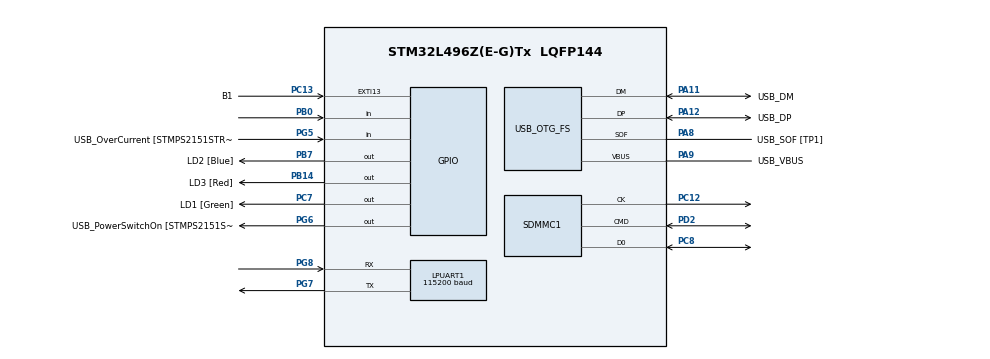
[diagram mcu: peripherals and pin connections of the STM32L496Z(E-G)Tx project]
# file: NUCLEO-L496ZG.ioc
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Dma.LPUART_RX.1.Direction=DMA_PERIPH_TO_MEMORY
Dma.LPUART_RX.1.Instance=DMA2_Channel7
Dma.LPUART_RX.1.MemDataAlignment=DMA_MDATAALIGN_BYTE
Dma.LPUART_RX.1.MemInc=DMA_MINC_ENABLE
Dma.LPUART_RX.1.Mode=DMA_NORMAL
Dma.LPUART_RX.1.PeriphDataAlignment=DMA_PDATAALIGN_BYTE
Dma.LPUART_RX.1.PeriphInc=DMA_PINC_DISABLE
Dma.LPUART_RX.1.Priority=DMA_PRIORITY_LOW
Dma.MEMTOMEM.0.Direction=DMA_MEMORY_TO_MEMORY
Dma.MEMTOMEM.0.Instance=DMA1_Channel1
Dma.MEMTOMEM.0.MemDataAlignment=DMA_MDATAALIGN_BYTE
Dma.MEMTOMEM.0.MemInc=DMA_MINC_ENABLE
Dma.MEMTOMEM.0.Mode=DMA_NORMAL
Dma.MEMTOMEM.0.PeriphDataAlignment=DMA_PDATAALIGN_BYTE
Dma.MEMTOMEM.0.PeriphInc=DMA_PINC_ENABLE
Dma.MEMTOMEM.0.Priority=DMA_PRIORITY_LOW
Dma.Request0=MEMTOMEM
Dma.Request1=LPUART_RX
FATFS._MAX_SS=512
LPUART1.BaudRate=115200
LPUART1.WordLength=UART_WORDLENGTH_8B
Mcu.Family=STM32L4
Mcu.Name=STM32L496Z(E-G)Tx
Mcu.Package=LQFP144
NVIC.DMA2_Channel7_IRQn=true\:0\:0\:false\:false\:true\:false\:true\:true
NVIC.EXTI15_10_IRQn=true\:0\:0\:false\:false\:true\:true\:true\:true
NVIC.LPUART1_IRQn=true\:0\:0\:false\:false\:true\:true\:true\:true
NVIC.OTG_FS_IRQn=true\:0\:0\:false\:false\:true\:true\:true\:true
NVIC.PriorityGroup=NVIC_PRIORITYGROUP_4
NVIC.RCC_IRQn=true\:0\:0\:false\:false\:true\:true\:false\:true
NVIC.SDMMC1_IRQn=true\:0\:0\:false\:false\:true\:true\:true\:true
PA0.Mode=SYS_WakeUp0
PA0.Signal=SYS_WKUP1
PA10.GPIO_Label=USB_ID
PA10.Signal=USB_OTG_FS_ID
PA11.GPIO_Label=USB_DM
PA11.Mode=Device_Only
PA11.Signal=USB_OTG_FS_DM
PA12.GPIO_Label=USB_DP
PA12.Mode=Device_Only
PA12.Signal=USB_OTG_FS_DP
PA13\ (JTMS/SWDIO).GPIO_Label=TMS
PA13\ (JTMS/SWDIO).Mode=Trace_Asynchronous_SW
PA13\ (JTMS/SWDIO).Signal=SYS_JTMS-SWDIO
PA14\ (JTCK/SWCLK).GPIO_Label=TCK
PA14\ (JTCK/SWCLK).Mode=Trace_Asynchronous_SW
PA14\ (JTCK/SWCLK).Signal=SYS_JTCK-SWCLK
PA8.GPIO_Label=USB_SOF [TP1]
PA8.Mode=Activate_SOF_FS
PA8.Signal=USB_OTG_FS_SOF
PA9.GPIO_Label=USB_VBUS
PA9.Mode=Activate_VBUS
PA9.Signal=USB_OTG_FS_VBUS
PB0.Signal=GPIO_Input
PB14.GPIO_Label=LD3 [Red]
PB14.Signal=GPIO_Output
PB3\ (JTDO/TRACESWO).GPIO_Label=SWO
PB3\ (JTDO/TRACESWO).Mode=Trace_Asynchronous_SW
PB3\ (JTDO/TRACESWO).Signal=SYS_JTDO-SWO
PB7.GPIO_Label=LD2 [Blue]
PB7.Signal=GPIO_Output
PC12.Mode=SD_1_bit
PC12.Signal=SDMMC1_CK
PC13.GPIO_Label=B1
PC13.GPIO_ModeDefaultEXTI=GPIO_MODE_IT_RISING_FALLING
PC13.Signal=GPXTI13
PC14-OSC32_IN\ (PC14).Mode=LSE-External-Oscillator
PC14-OSC32_IN\ (PC14).Signal=RCC_OSC32_IN
PC15-OSC32_OUT\ (PC15).Mode=LSE-External-Oscillator
PC15-OSC32_OUT\ (PC15).Signal=RCC_OSC32_OUT
PC7.GPIO_Label=LD1 [Green]
PC7.PinState=GPIO_PIN_SET
PC7.Signal=GPIO_Output
PC8.Mode=SD_1_bit
PC8.Signal=SDMMC1_D0
PD2.Mode=SD_1_bit
PD2.Signal=SDMMC1_CMD
PG5.GPIO_Label=USB_OverCurrent [STMPS2151STR_FAULT]
PG5.Signal=GPIO_Input
PG6.GPIO_Label=USB_PowerSwitchOn [STMPS2151STR_EN]
PG6.Signal=GPIO_Output
PG7.Mode=Asynchronous
PG7.Signal=LPUART1_TX
PG8.Mode=Asynchronous
PG8.Signal=LPUART1_RX
PH1-OSC_OUT\ (PH1).Signal=RCC_OSC_OUT
ProjectManager.HeapSize=0x200
ProjectManager.StackSize=0x400
ProjectManager.TargetToolchain=STM32CubeIDE
RCC.APB1TimFreq_Value=23666666.666666668
RCC.CK48CLockSelection=RCC_USBCLKSOURCE_HSI48
RCC.SYSCLKSource=RCC_SYSCLKSOURCE_PLLCLK
USB_OTG_FS.VirtualMode=Device_Only
VP_FATFS_VS_SDIO.Mode=SDIO
board=NUCLEO-L496ZG

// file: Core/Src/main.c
/* USER CODE BEGIN Header */
/**
  ******************************************************************************
  * @file           : main.c
  * @brief          : Main program body
  ******************************************************************************
  * @attention
  *
  * Copyright (c) 2024 STMicroelectronics.
  * All rights reserved.
  *
  * This software is licensed under terms that can be found in the LICENSE file
  * in the root directory of this software component.
  * If no LICENSE file comes with this software, it is provided AS-IS.
  *
  ******************************************************************************
  */
/* USER CODE END Header */
#include "main.h"
#include "fatfs.h"

/* USER CODE BEGIN Includes */
#include <string.h>
/* USER CODE END Includes */

UART_HandleTypeDef hlpuart1;
DMA_HandleTypeDef hdma_lpuart_rx;

SD_HandleTypeDef hsd1;

PCD_HandleTypeDef hpcd_USB_OTG_FS;

DMA_HandleTypeDef hdma_memtomem_dma1_channel1;
/* USER CODE BEGIN PV */

//uint8_t buffer[32];
//const char *ledOnMessage = "LED ON\r\n";
//const char *ledOffMessage = "LED OFF\r\n";
//const char *errorMessage = "ERROR\r\n";

/* USER CODE END PV */

void SystemClock_Config(void);
static void MX_GPIO_Init(void);
static void MX_DMA_Init(void);
static void MX_USB_OTG_FS_PCD_Init(void);
static void MX_LPUART1_UART_Init(void);
static void MX_SDMMC1_SD_Init(void);

/* USER CODE BEGIN 0 */

uint8_t RxData[4096];
int isSizeRxed = 0;
uint32_t size = 0;

//int counthalf = 0;
//int countfull = 0;

//void HAL_UART_RxHalfCpltCallback(UART_HandleTypeDef *huart)
//{
//	counthalf++;
//}

//void HAL_UART_RxCpltCallback(UART_HandleTypeDef *huart)
//{
//	if (isSizeRxed == 0)
//	{
//		size = ((RxData[0]-48)*1000) + ((RxData[1]-48)*100) + ((RxData[2]-48)*10) + ((RxData[3]-48));
//		isSizeRxed = 1;
//		HAL_UART_Receive_DMA(&hlpuart1, RxData, size);
//	}
//	else if (isSizeRxed == 1)
//	{
//		isSizeRxed = 0;
//		HAL_UART_Receive_DMA(&hlpuart1, RxData, 4); //TODO //FIXME
//	}

//	countfull++;
//	HAL_UART_Receive_DMA(&hlpuart1, RxData, 10);
//}

void WriteToSDCard(void) {
    FIL myFile;
    FRESULT res;
    UINT bytesWritten;

    if (f_mount(&SDFatFS, SDPath, 1) == FR_OK) {

        res = f_open(&myFile, "test.txt", FA_CREATE_ALWAYS | FA_WRITE);
        if (res == FR_OK) {

            res = f_write(&myFile, "Merhaba STM32!", 14, &bytesWritten);
            if (res == FR_OK) {

                f_close(&myFile);
                HAL_UART_Transmit(&hlpuart1, (uint8_t *)"Dosya başarıyla yazıldı!\r\n", 26, HAL_MAX_DELAY);
            }
        }

        f_mount(0, "", 0);
    } else {
        HAL_UART_Transmit(&hlpuart1, (uint8_t *)"SD Kart mount edilemedi.\r\n", 27, HAL_MAX_DELAY);
    }
}

/* USER CODE END 0 */

int main(void)
{

  /* MCU Configuration--------------------------------------------------------*/

  /* Reset of all peripherals, Initializes the Flash interface and the Systick. */
  HAL_Init();

  /* Configure the system clock */
  SystemClock_Config();

  /* Initialize all configured peripherals */
  MX_GPIO_Init();
  MX_DMA_Init();
  MX_USB_OTG_FS_PCD_Init();
  MX_LPUART1_UART_Init();
  MX_SDMMC1_SD_Init();
  MX_FATFS_Init();
  /* USER CODE BEGIN 2 */

  HAL_UART_Receive_IT(&hlpuart1, RxData, 4);

  /* USER CODE END 2 */

  /* Infinite loop */
  /* USER CODE BEGIN WHILE */

//  ledTimeOut = HAL_GetTick();

//HAL_UARTEx_ReceiveToIdle_IT(&hlpuart1, buffer, 32);

//  HAL_StatusTypeDef status;

//  uint8_t rxBuffer[10];
//  const char *ledOnMessage = "LED ON\r\n";
//  const char *ledOffMessage = "LED OFF\r\n";
//  const char *errorMessage = "ERROR\r\n";

  while (1)
  {
    /* USER CODE END WHILE */

    /* USER CODE BEGIN 3 */

	 // HAL_GPIO_TogglePin(LD2_GPIO_Port,LD2_Pin);
	//  HAL_GPIO_WritePin(LD2_GPIO_Port,LD2_Pin, GPIO_PIN_SET);
	//  HAL_Delay(250);
	//  HAL_GPIO_WritePin(LD2_GPIO_Port,LD2_Pin, GPIO_PIN_RESET);
	//  HAL_Delay(750);

	//  HAL_GPIO_WritePin(LD3_GPIO_Port,LD3_Pin, GPIO_PIN_SET);

//	  if (HAL_GPIO_ReadPin(B1_GPIO_Port, B1_Pin) == GPIO_PIN_SET)
//	  {
//
//      if (buttonPressed == 0)
//      {
//
//      HAL_GPIO_WritePin(LD3_GPIO_Port,LD3_Pin, HAL_GPIO_ReadPin(B1_GPIO_Port, B1_Pin));
//
//      HAL_GPIO_TogglePin(LD2_GPIO_Port,LD2_Pin);
//      HAL_Delay(500);
//
//      buttonPressed = 1;
//      }
//	  }
//
//	  else
//	  {
//        if (buttonPressed == 1)
//        {
//          buttonPressed = 0;
//
//          HAL_GPIO_WritePin(LD3_GPIO_Port,LD3_Pin, GPIO_PIN_RESET);
//        }
//	  }

//	  HAL_GPIO_WritePin(LD3_GPIO_Port,LD3_Pin, HAL_GPIO_ReadPin(B1_GPIO_Port, B1_Pin));
//
//	  if(ledTimeOut + 500 < HAL_GetTick()){
//
//		  ledTimeOut = HAL_GetTick();
//
//		  HAL_GPIO_TogglePin(LD2_GPIO_Port,LD2_Pin);
//	  }

//	  status = HAL_UART_Receive(&hlpuart1, buffer, 1, 5000);
//
//	  if (HAL_OK == status || HAL_TIMEOUT == status) {
//			if (buffer[0] == 'K') {
//				HAL_GPIO_TogglePin(LD2_GPIO_Port,LD2_Pin);
//			}
//			if (buffer[0] == 'M') {
//				HAL_GPIO_TogglePin(LD3_GPIO_Port,LD3_Pin);
//			}
//	  }
//
//	  	  HAL_GPIO_WritePin(LD2_GPIO_Port,LD2_Pin, GPIO_PIN_SET);
//	  	  HAL_Delay(500);
//	  	  HAL_GPIO_WritePin(LD2_GPIO_Port,LD2_Pin, GPIO_PIN_RESET);
//	  	  HAL_Delay(500);
//
//
//	  buffer[0] = 0;
//

//	  if (HAL_UART_Receive(&hlpuart1, rxBuffer, 1, 1000) == HAL_OK)
//	  {
//		 if (rxBuffer[0] == '1')
//		 {
//			 HAL_GPIO_WritePin(LD2_GPIO_Port,LD2_Pin, GPIO_PIN_SET);
//			 HAL_UART_Transmit(&hlpuart1, (uint8_t *)ledOnMessage, strlen(ledOnMessage), HAL_MAX_DELAY);
//		 }
//		 else if (rxBuffer[0] == '0')
//		 {
//			 HAL_GPIO_WritePin(LD2_GPIO_Port,LD2_Pin, GPIO_PIN_RESET);
//			 HAL_UART_Transmit(&hlpuart1, (uint8_t *)ledOffMessage, strlen(ledOffMessage), HAL_MAX_DELAY);
//		 }
//		 else
//		 {
//			 HAL_UART_Transmit(&hlpuart1, (uint8_t *)errorMessage, strlen(errorMessage), HAL_MAX_DELAY);
//		 }
//      }

	  HAL_Delay(1000);
	  WriteToSDCard();  // SD karta yazma işlemi
  }

  /* USER CODE END 3 */
}

void SystemClock_Config(void)
{
  RCC_OscInitTypeDef RCC_OscInitStruct = {0};
  RCC_ClkInitTypeDef RCC_ClkInitStruct = {0};

  /** Configure the main internal regulator output voltage
  */
  if (HAL_PWREx_ControlVoltageScaling(PWR_REGULATOR_VOLTAGE_SCALE1) != HAL_OK)
  {
    Error_Handler();
  }

  /** Initializes the RCC Oscillators according to the specified parameters
  * in the RCC_OscInitTypeDef structure.
  */
  RCC_OscInitStruct.OscillatorType = RCC_OSCILLATORTYPE_HSI48|RCC_OSCILLATORTYPE_MSI;
  RCC_OscInitStruct.HSI48State = RCC_HSI48_ON;
  RCC_OscInitStruct.MSIState = RCC_MSI_ON;
  RCC_OscInitStruct.MSICalibrationValue = 0;
  RCC_OscInitStruct.MSIClockRange = RCC_MSIRANGE_6;
  RCC_OscInitStruct.PLL.PLLState = RCC_PLL_ON;
  RCC_OscInitStruct.PLL.PLLSource = RCC_PLLSOURCE_MSI;
  RCC_OscInitStruct.PLL.PLLM = 1;
  RCC_OscInitStruct.PLL.PLLN = 8;
  RCC_OscInitStruct.PLL.PLLP = RCC_PLLP_DIV2;
  RCC_OscInitStruct.PLL.PLLQ = RCC_PLLQ_DIV2;
  RCC_OscInitStruct.PLL.PLLR = RCC_PLLR_DIV2;
  if (HAL_RCC_OscConfig(&RCC_OscInitStruct) != HAL_OK)
  {
    Error_Handler();
  }

  /** Initializes the CPU, AHB and APB buses clocks
  */
  RCC_ClkInitStruct.ClockType = RCC_CLOCKTYPE_HCLK|RCC_CLOCKTYPE_SYSCLK
                              |RCC_CLOCKTYPE_PCLK1|RCC_CLOCKTYPE_PCLK2;
  RCC_ClkInitStruct.SYSCLKSource = RCC_SYSCLKSOURCE_PLLCLK;
  RCC_ClkInitStruct.AHBCLKDivider = RCC_SYSCLK_DIV1;
  RCC_ClkInitStruct.APB1CLKDivider = RCC_HCLK_DIV1;
  RCC_ClkInitStruct.APB2CLKDivider = RCC_HCLK_DIV1;

  if (HAL_RCC_ClockConfig(&RCC_ClkInitStruct, FLASH_LATENCY_0) != HAL_OK)
  {
    Error_Handler();
  }
}

static void MX_LPUART1_UART_Init(void)
{

  hlpuart1.Instance = LPUART1;
  hlpuart1.Init.BaudRate = 115200;
  hlpuart1.Init.WordLength = UART_WORDLENGTH_8B;
  hlpuart1.Init.StopBits = UART_STOPBITS_1;
  hlpuart1.Init.Parity = UART_PARITY_NONE;
  hlpuart1.Init.Mode = UART_MODE_TX_RX;
  hlpuart1.Init.HwFlowCtl = UART_HWCONTROL_NONE;
  hlpuart1.Init.OneBitSampling = UART_ONE_BIT_SAMPLE_DISABLE;
  hlpuart1.AdvancedInit.AdvFeatureInit = UART_ADVFEATURE_NO_INIT;
  if (HAL_UART_Init(&hlpuart1) != HAL_OK)
  {
    Error_Handler();
  }

}

static void MX_SDMMC1_SD_Init(void)
{

  hsd1.Instance = SDMMC1;
  hsd1.Init.ClockEdge = SDMMC_CLOCK_EDGE_RISING;
  hsd1.Init.ClockBypass = SDMMC_CLOCK_BYPASS_DISABLE;
  hsd1.Init.ClockPowerSave = SDMMC_CLOCK_POWER_SAVE_DISABLE;
  hsd1.Init.BusWide = SDMMC_BUS_WIDE_1B;
  hsd1.Init.HardwareFlowControl = SDMMC_HARDWARE_FLOW_CONTROL_DISABLE;
  hsd1.Init.ClockDiv = 0;

}

static void MX_USB_OTG_FS_PCD_Init(void)
{

  hpcd_USB_OTG_FS.Instance = USB_OTG_FS;
  hpcd_USB_OTG_FS.Init.dev_endpoints = 6;
  hpcd_USB_OTG_FS.Init.speed = PCD_SPEED_FULL;
  hpcd_USB_OTG_FS.Init.phy_itface = PCD_PHY_EMBEDDED;
  hpcd_USB_OTG_FS.Init.Sof_enable = ENABLE;
  hpcd_USB_OTG_FS.Init.low_power_enable = DISABLE;
  hpcd_USB_OTG_FS.Init.lpm_enable = DISABLE;
  hpcd_USB_OTG_FS.Init.battery_charging_enable = ENABLE;
  hpcd_USB_OTG_FS.Init.use_dedicated_ep1 = DISABLE;
  hpcd_USB_OTG_FS.Init.vbus_sensing_enable = ENABLE;
  if (HAL_PCD_Init(&hpcd_USB_OTG_FS) != HAL_OK)
  {
    Error_Handler();
  }

}

static void MX_DMA_Init(void)
{

  /* DMA controller clock enable */
  __HAL_RCC_DMA1_CLK_ENABLE();
  __HAL_RCC_DMA2_CLK_ENABLE();

  /* Configure DMA request hdma_memtomem_dma1_channel1 on DMA1_Channel1 */
  hdma_memtomem_dma1_channel1.Instance = DMA1_Channel1;
  hdma_memtomem_dma1_channel1.Init.Request = DMA_REQUEST_0;
  hdma_memtomem_dma1_channel1.Init.Direction = DMA_MEMORY_TO_MEMORY;
  hdma_memtomem_dma1_channel1.Init.PeriphInc = DMA_PINC_ENABLE;
  hdma_memtomem_dma1_channel1.Init.MemInc = DMA_MINC_ENABLE;
  hdma_memtomem_dma1_channel1.Init.PeriphDataAlignment = DMA_PDATAALIGN_BYTE;
  hdma_memtomem_dma1_channel1.Init.MemDataAlignment = DMA_MDATAALIGN_BYTE;
  hdma_memtomem_dma1_channel1.Init.Mode = DMA_NORMAL;
  hdma_memtomem_dma1_channel1.Init.Priority = DMA_PRIORITY_LOW;
  if (HAL_DMA_Init(&hdma_memtomem_dma1_channel1) != HAL_OK)
  {
    Error_Handler( );
  }

  /* DMA interrupt init */
  /* DMA2_Channel7_IRQn interrupt configuration */
  HAL_NVIC_SetPriority(DMA2_Channel7_IRQn, 0, 0);
  HAL_NVIC_EnableIRQ(DMA2_Channel7_IRQn);

}

static void MX_GPIO_Init(void)
{
  GPIO_InitTypeDef GPIO_InitStruct = {0};

  /* GPIO Ports Clock Enable */
  __HAL_RCC_GPIOC_CLK_ENABLE();
  __HAL_RCC_GPIOH_CLK_ENABLE();
  __HAL_RCC_GPIOA_CLK_ENABLE();
  __HAL_RCC_GPIOB_CLK_ENABLE();
  __HAL_RCC_GPIOG_CLK_ENABLE();
  HAL_PWREx_EnableVddIO2();
  __HAL_RCC_GPIOD_CLK_ENABLE();

  /*Configure GPIO pin Output Level */
  HAL_GPIO_WritePin(GPIOB, LD3_Pin|LD2_Pin, GPIO_PIN_RESET);

  /*Configure GPIO pin Output Level */
  HAL_GPIO_WritePin(USB_PowerSwitchOn_GPIO_Port, USB_PowerSwitchOn_Pin, GPIO_PIN_RESET);

  /*Configure GPIO pin Output Level */
  HAL_GPIO_WritePin(LD1_GPIO_Port, LD1_Pin, GPIO_PIN_SET);

  /*Configure GPIO pin : B1_Pin */
  GPIO_InitStruct.Pin = B1_Pin;
  GPIO_InitStruct.Mode = GPIO_MODE_IT_RISING_FALLING;
  GPIO_InitStruct.Pull = GPIO_NOPULL;
  HAL_GPIO_Init(B1_GPIO_Port, &GPIO_InitStruct);

  /*Configure GPIO pin : PB0 */
  GPIO_InitStruct.Pin = GPIO_PIN_0;
  GPIO_InitStruct.Mode = GPIO_MODE_INPUT;
  GPIO_InitStruct.Pull = GPIO_NOPULL;
  HAL_GPIO_Init(GPIOB, &GPIO_InitStruct);

  /*Configure GPIO pins : LD3_Pin LD2_Pin */
  GPIO_InitStruct.Pin = LD3_Pin|LD2_Pin;
  GPIO_InitStruct.Mode = GPIO_MODE_OUTPUT_PP;
  GPIO_InitStruct.Pull = GPIO_NOPULL;
  GPIO_InitStruct.Speed = GPIO_SPEED_FREQ_LOW;
  HAL_GPIO_Init(GPIOB, &GPIO_InitStruct);

  /*Configure GPIO pin : USB_OverCurrent_Pin */
  GPIO_InitStruct.Pin = USB_OverCurrent_Pin;
  GPIO_InitStruct.Mode = GPIO_MODE_INPUT;
  GPIO_InitStruct.Pull = GPIO_NOPULL;
  HAL_GPIO_Init(USB_OverCurrent_GPIO_Port, &GPIO_InitStruct);

  /*Configure GPIO pin : USB_PowerSwitchOn_Pin */
  GPIO_InitStruct.Pin = USB_PowerSwitchOn_Pin;
  GPIO_InitStruct.Mode = GPIO_MODE_OUTPUT_PP;
  GPIO_InitStruct.Pull = GPIO_NOPULL;
  GPIO_InitStruct.Speed = GPIO_SPEED_FREQ_LOW;
  HAL_GPIO_Init(USB_PowerSwitchOn_GPIO_Port, &GPIO_InitStruct);

  /*Configure GPIO pin : LD1_Pin */
  GPIO_InitStruct.Pin = LD1_Pin;
  GPIO_InitStruct.Mode = GPIO_MODE_OUTPUT_PP;
  GPIO_InitStruct.Pull = GPIO_NOPULL;
  GPIO_InitStruct.Speed = GPIO_SPEED_FREQ_LOW;
  HAL_GPIO_Init(LD1_GPIO_Port, &GPIO_InitStruct);

  /* EXTI interrupt init*/
  HAL_NVIC_SetPriority(EXTI15_10_IRQn, 0, 0);
  HAL_NVIC_EnableIRQ(EXTI15_10_IRQn);

}

/* USER CODE BEGIN 4 */
uint8_t BSP_SD_WriteBlocks_DMA(uint32_t *pData, uint32_t WriteAddr, uint32_t NumOfBlocks)
{
  uint8_t sd_state = MSD_OK;

  hsd1.hdmarx->ChannelIndex = (((uint32_t)hsd1.hdmarx->Instance - (uint32_t)DMA2_Channel1) / ((uint32_t)DMA2_Channel2 - (uint32_t)DMA2_Channel1)) << 2U;
  DMA2_CSELR->CSELR &= ~(DMA_CSELR_C1S << (hsd1.hdmarx->ChannelIndex & 0x1cU));

  hsd1.hdmatx->ChannelIndex = (((uint32_t)hsd1.hdmatx->Instance - (uint32_t)DMA2_Channel1) / ((uint32_t)DMA2_Channel2 - (uint32_t)DMA2_Channel1)) << 2U;
  DMA2_CSELR->CSELR &= ~(DMA_CSELR_C1S << (hsd1.hdmatx->ChannelIndex & 0x1cU));
  DMA2_CSELR->CSELR |= (uint32_t)(hsd1.hdmatx->Init.Request << (hsd1.hdmatx->ChannelIndex & 0x1cU));

  /* Write block(s) in DMA transfer mode */
  if (HAL_SD_WriteBlocks_DMA(&hsd1, (uint8_t *)pData, WriteAddr, NumOfBlocks) != HAL_OK)
  {
    sd_state = MSD_ERROR;
  }

  return sd_state;
}

uint8_t BSP_SD_ReadBlocks_DMA(uint32_t *pData, uint32_t ReadAddr, uint32_t NumOfBlocks)
{
  uint8_t sd_state = MSD_OK;

  /* Read block(s) in DMA transfer mode */

  hsd1.hdmatx->ChannelIndex = (((uint32_t)hsd1.hdmatx->Instance - (uint32_t)DMA2_Channel1) / ((uint32_t)DMA2_Channel2 - (uint32_t)DMA2_Channel1)) << 2U;
  DMA2_CSELR->CSELR &= ~(DMA_CSELR_C1S << (hsd1.hdmatx->ChannelIndex & 0x1cU));

  hsd1.hdmarx->ChannelIndex = (((uint32_t)hsd1.hdmarx->Instance - (uint32_t)DMA2_Channel1) / ((uint32_t)DMA2_Channel2 - (uint32_t)DMA2_Channel1)) << 2U;
  DMA2_CSELR->CSELR &= ~(DMA_CSELR_C1S << (hsd1.hdmarx->ChannelIndex & 0x1cU));
  DMA2_CSELR->CSELR |= (uint32_t)(hsd1.hdmarx->Init.Request << (hsd1.hdmarx->ChannelIndex & 0x1cU));

  if (HAL_SD_ReadBlocks_DMA(&hsd1, (uint8_t *)pData, ReadAddr, NumOfBlocks) != HAL_OK)
  {
    sd_state = MSD_ERROR;
  }

  return sd_state;
}

volatile uint32_t ledTimeOut = 0;

void HAL_GPIO_EXTI_Callback(uint16_t GPIO_Pin)
{

//	if(GPIO_Pin == B1_Pin) {
//		HAL_GPIO_TogglePin(LD3_GPIO_Port,LD3_Pin);
//	}

}

void HAL_UARTEx_RxEventCallback(UART_HandleTypeDef *huart, uint16_t Size)
{
//	 if (huart->Instance == LPUART1)
//			    {
//
//		 buffer[Size] = '\0';
//
//			        if (strstr((char *)buffer, "RED") != NULL)
//			        {
//			            HAL_GPIO_WritePin(LD3_GPIO_Port, LD3_Pin, GPIO_PIN_SET);
//			            HAL_UART_Transmit(&hlpuart1, (uint8_t *)ledOnMessage, strlen(ledOnMessage), HAL_MAX_DELAY);
//			        }
//			        if (strstr((char *)buffer, "BLUE") != NULL)
//			        {
//			            HAL_GPIO_WritePin(LD2_GPIO_Port, LD2_Pin, GPIO_PIN_SET);
//			            HAL_UART_Transmit(&hlpuart1, (uint8_t *)ledOnMessage, strlen(ledOnMessage), HAL_MAX_DELAY);
//			        }
//			        if (strstr((char *)buffer, "CLEAR") != NULL)
//			        {
//			            HAL_GPIO_WritePin(LD2_GPIO_Port, LD2_Pin, GPIO_PIN_RESET);
//			            HAL_GPIO_WritePin(LD3_GPIO_Port, LD3_Pin, GPIO_PIN_RESET);
//
//			            HAL_UART_Transmit(&hlpuart1, (uint8_t *)errorMessage, strlen(errorMessage), HAL_MAX_DELAY);
//			        }
//
//			        HAL_UARTEx_ReceiveToIdle_IT(&hlpuart1, buffer, 32);
//			    }
}

void HAL_UART_TxCpltCallback(UART_HandleTypeDef *huart)
{

}

//	 if (huart->Instance == LPUART1)
//	    {
//	        if (buffer[0] == 'M')
//	        {
//	            HAL_GPIO_TogglePin(LD2_GPIO_Port, LD2_Pin);
//	        }
//	        if (buffer[0] == 'K')
//	        {
//	            HAL_GPIO_TogglePin(LD3_GPIO_Port, LD3_Pin);
//	        }
//
//	        HAL_UART_Receive_IT(&hlpuart1, buffer, 1);
//	    }

/* USER CODE END 4 */

void Error_Handler(void)
{
  __disable_irq();
  while (1)
  {
  }
}
